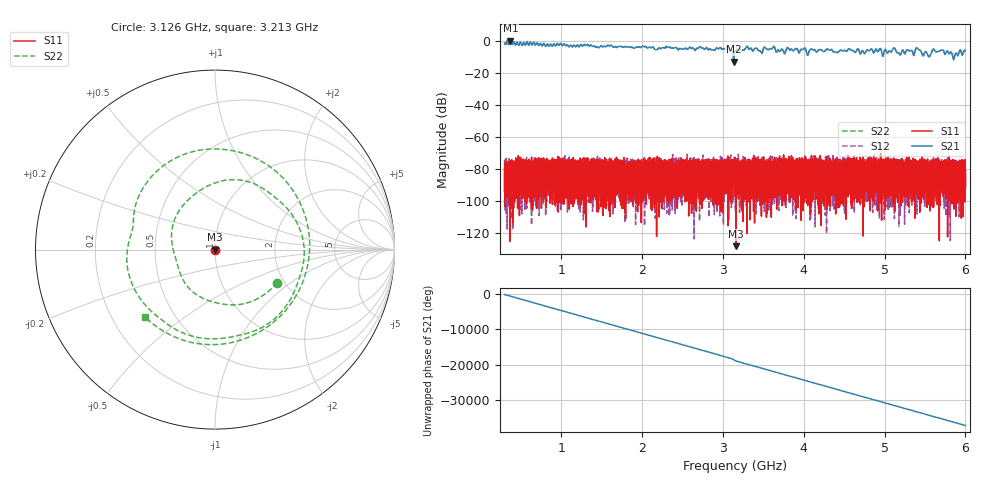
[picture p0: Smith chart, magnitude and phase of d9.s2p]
!Agilent Technologies,N5230C,SG49000117,A.08.50.07
!Agilent N5230C: A.08.50.07
!Date: Sunday, March 17, 2024 03:00:32
!Correction: S11(Off)
!S21(Off)
!S12(Off)
!S22(Off)
!S2P File: Measurements: S11, S21, S12, S22:
# Hz S  RI  R 50
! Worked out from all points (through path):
!   20001 points, 300 MHz to 6 GHz, reference 50 ohm
!   highest |S21| = 0.23 dB at 371.2 MHz (marker M1); lowest = -13.0 dB at 3.133 GHz (marker M2)
!   lowest |S11| = -128.4 dB at 3.164 GHz (marker M3), VSWR 1.00, Z = 50 - j1.9e-05 ohm
!   |S11| at or under -10 dB: start of sweep to end of sweep
!   |S22| runs from -13.0 to 0.3 dB; largest |S21 - S12| = 1
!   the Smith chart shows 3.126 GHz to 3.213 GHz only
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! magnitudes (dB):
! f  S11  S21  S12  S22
! 300 MHz  -81.1  -1.4  -90.7  -1.4
! 371.2 MHz  -79.9  0.2  -80.3  0.3
! 1.25 GHz  -83.6  -2.5  -81.3  -2.5
! 2.2 GHz  -90.4  -4.8  -88.5  -4.8
! 3.064 GHz  -86.4  -4.4  -83.8  -4.4
! 3.133 GHz  -83.6  -13.0  -82.8  -13.0
! 3.15 GHz  -79.3  -5.9  -76.6  -5.9
! 3.164 GHz  -128.4  -6.1  -82.9  -6.0
! 3.31 GHz  -80.8  -4.1  -77.0  -4.1
! 3.468 GHz  -74.9  -6.6  -90.8  -6.6
! 3.617 GHz  -77.0  -4.3  -82.4  -4.2
! 3.998 GHz  -75.5  -5.2  -78.3  -5.1
! 4.052 GHz  -82.9  -8.9  -82.8  -8.8
! 4.1 GHz  -76.6  -5.3  -81.2  -5.2
! 5.05 GHz  -82.8  -6.7  -83.4  -6.7
! 5.352 GHz  -77.0  -7.7  -85.8  -7.7
! 5.409 GHz  -82.0  -4.8  -83.7  -4.8
! 5.549 GHz  -78.8  -9.9  -77.1  -9.9
! 5.605 GHz  -86.5  -5.1  -73.1  -5.2
! 5.705 GHz  -80.7  -5.8  -81.8  -5.8
! 5.863 GHz  -81.6  -10.1  -85.9  -10.2
! 6 GHz  -91.9  -6.1  -82.9  -6.1
